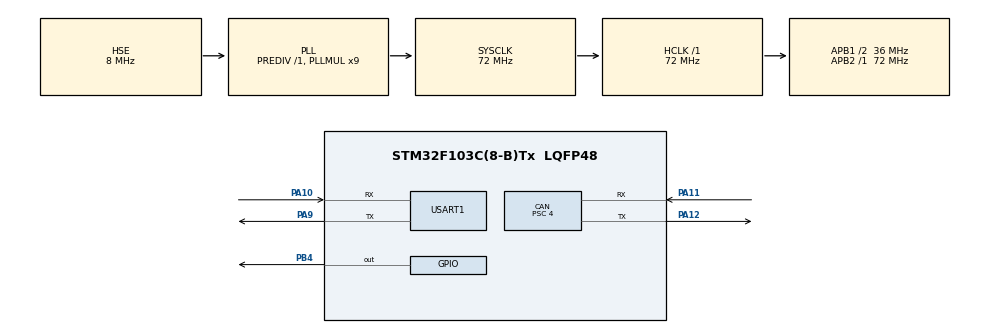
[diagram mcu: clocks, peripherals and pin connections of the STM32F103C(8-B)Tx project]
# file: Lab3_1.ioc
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CAN.BS1=CAN_BS1_12TQ
CAN.BS2=CAN_BS2_5TQ
CAN.CalculateBaudRate=500000
CAN.CalculateTimeBit=2000
CAN.CalculateTimeQuantum=111.11111111111111
CAN.Mode=CAN_MODE_NORMAL
CAN.NART=DISABLE
CAN.Prescaler=4
Mcu.Family=STM32F1
Mcu.Name=STM32F103C(8-B)Tx
Mcu.Package=LQFP48
NVIC.PriorityGroup=NVIC_PRIORITYGROUP_4
NVIC.USART1_IRQn=true\:0\:0\:false\:false\:true\:true\:true\:true
NVIC.USB_LP_CAN1_RX0_IRQn=true\:0\:0\:false\:false\:true\:true\:true\:true
PA10.Mode=Asynchronous
PA10.Signal=USART1_RX
PA11.Mode=CAN_Activate
PA11.Signal=CAN_RX
PA12.Mode=CAN_Activate
PA12.Signal=CAN_TX
PA13.Mode=Serial_Wire
PA13.Signal=SYS_JTMS-SWDIO
PA14.Mode=Serial_Wire
PA14.Signal=SYS_JTCK-SWCLK
PA9.Mode=Asynchronous
PA9.Signal=USART1_TX
PB4.Signal=GPIO_Output
PD0-OSC_IN.Mode=HSE-External-Oscillator
PD0-OSC_IN.Signal=RCC_OSC_IN
PD1-OSC_OUT.Mode=HSE-External-Oscillator
PD1-OSC_OUT.Signal=RCC_OSC_OUT
ProjectManager.HeapSize=0x200
ProjectManager.StackSize=0x400
ProjectManager.TargetToolchain=STM32CubeIDE
RCC.AHBFreq_Value=72000000
RCC.APB1CLKDivider=RCC_HCLK_DIV2
RCC.APB1Freq_Value=36000000
RCC.APB1TimFreq_Value=72000000
RCC.APB2Freq_Value=72000000
RCC.APB2TimFreq_Value=72000000
RCC.HCLKFreq_Value=72000000
RCC.PLLMUL=RCC_PLL_MUL9
RCC.PLLSourceVirtual=RCC_PLLSOURCE_HSE
RCC.SYSCLKFreq_VALUE=72000000
RCC.SYSCLKSource=RCC_SYSCLKSOURCE_PLLCLK
RCC.USBFreq_Value=72000000
USART1.VirtualMode=VM_ASYNC
board=custom

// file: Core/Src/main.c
/* USER CODE BEGIN Header */
/**
  ******************************************************************************
  * @file           : main.c
  * @brief          : Main program body
  ******************************************************************************
  * @attention
  *
  * Copyright (c) 2023 STMicroelectronics.
  * All rights reserved.
  *
  * This software is licensed under terms that can be found in the LICENSE file
  * in the root directory of this software component.
  * If no LICENSE file comes with this software, it is provided AS-IS.
  *
  ******************************************************************************
  */
/* USER CODE END Header */
#include "main.h"

CAN_HandleTypeDef hcan;

UART_HandleTypeDef huart1;

/* USER CODE BEGIN PV */
CAN_TxHeaderTypeDef   TxHeader;
uint8_t               TxData[8];
CAN_FilterTypeDef canfil; //CAN Bus Filter
uint32_t canMailbox; //CAN Bus Mail box variable
CAN_RxHeaderTypeDef rxHeader;
uint8_t receivedData[8];
#define RX_BUFFER_SIZE 8
uint8_t rxBuffer[RX_BUFFER_SIZE];
/* USER CODE END PV */

void SystemClock_Config(void);
static void MX_GPIO_Init(void);
static void MX_CAN_Init(void);
static void MX_USART1_UART_Init(void);

/* USER CODE BEGIN 0 */
void HAL_CAN_RxFifo0MsgPendingCallback(CAN_HandleTypeDef *hcan)
{
	  //HAL_GPIO_TogglePin(GPIOB, GPIO_PIN_4);
	  if (HAL_CAN_GetRxMessage(hcan, CAN_RX_FIFO0, &rxHeader, receivedData) == HAL_OK)
	  {

		  //receive data from ECU
		  if (rxHeader.StdId == 0x7A2)
		  {
		        for (int i = 0; i < rxHeader.DLC; i++)
		        {
		            rxBuffer[i] = receivedData[i];
		        }

		        HAL_UART_Transmit_IT(&huart1, rxBuffer,sizeof (rxBuffer));
		  }
	  }
}
/* USER CODE END 0 */

int main(void)
{
  /* USER CODE BEGIN 1 */
	canfil.FilterBank = 10;
	canfil.FilterMode = CAN_FILTERMODE_IDMASK;
	canfil.FilterFIFOAssignment = CAN_FILTER_FIFO0;
	canfil.FilterIdHigh = 0x712<<5;
	canfil.FilterIdLow = 0;
	canfil.FilterMaskIdHigh = 0x712<<5;
	canfil.FilterMaskIdLow = 0x0000;
	canfil.FilterScale = CAN_FILTERSCALE_32BIT;
	canfil.FilterActivation = CAN_FILTER_ENABLE;
	canfil.SlaveStartFilterBank = 0;

	TxHeader.ExtId = 0;
	TxHeader.IDE = CAN_ID_STD;
	TxHeader.StdId = 0x712;
	TxHeader.RTR = CAN_RTR_DATA;
	TxHeader.DLC = 8;
	TxHeader.TransmitGlobalTime = DISABLE;

  /* USER CODE END 1 */

  /* MCU Configuration--------------------------------------------------------*/

  /* Reset of all peripherals, Initializes the Flash interface and the Systick. */
  HAL_Init();

  /* Configure the system clock */
  SystemClock_Config();

  /* Initialize all configured peripherals */
  MX_GPIO_Init();
  MX_CAN_Init();
  MX_USART1_UART_Init();
  /* USER CODE BEGIN 2 */
  HAL_CAN_ConfigFilter(&hcan,&canfil);
  HAL_CAN_Start(&hcan);
  // Activate the notification
  HAL_CAN_ActivateNotification(&hcan, CAN_IT_RX_FIFO0_MSG_PENDING);
  /* USER CODE END 2 */

  /* Infinite loop */
  while (1)
  {

    /* USER CODE BEGIN 3 */
	  uint8_t TxData[8] = {0x22, 0x01, 0x23,0x00,0x00,0x00,0x00,0x00};
	 	  if(HAL_CAN_AddTxMessage(&hcan,&TxHeader,TxData,&canMailbox)!= HAL_OK)
	 	  {
	 		  HAL_GPIO_TogglePin(GPIOB, GPIO_PIN_4);
	 		  HAL_Delay(1000);

	 	  }
	 	  HAL_UART_Transmit_IT(&huart1, TxData,sizeof (TxData));
  }

  /* USER CODE END 3 */
}

void SystemClock_Config(void)
{
  RCC_OscInitTypeDef RCC_OscInitStruct = {0};
  RCC_ClkInitTypeDef RCC_ClkInitStruct = {0};

  /** Initializes the RCC Oscillators according to the specified parameters
  * in the RCC_OscInitTypeDef structure.
  */
  RCC_OscInitStruct.OscillatorType = RCC_OSCILLATORTYPE_HSE;
  RCC_OscInitStruct.HSEState = RCC_HSE_ON;
  RCC_OscInitStruct.HSEPredivValue = RCC_HSE_PREDIV_DIV1;
  RCC_OscInitStruct.HSIState = RCC_HSI_ON;
  RCC_OscInitStruct.PLL.PLLState = RCC_PLL_ON;
  RCC_OscInitStruct.PLL.PLLSource = RCC_PLLSOURCE_HSE;
  RCC_OscInitStruct.PLL.PLLMUL = RCC_PLL_MUL9;
  if (HAL_RCC_OscConfig(&RCC_OscInitStruct) != HAL_OK)
  {
    Error_Handler();
  }

  /** Initializes the CPU, AHB and APB buses clocks
  */
  RCC_ClkInitStruct.ClockType = RCC_CLOCKTYPE_HCLK|RCC_CLOCKTYPE_SYSCLK
                              |RCC_CLOCKTYPE_PCLK1|RCC_CLOCKTYPE_PCLK2;
  RCC_ClkInitStruct.SYSCLKSource = RCC_SYSCLKSOURCE_PLLCLK;
  RCC_ClkInitStruct.AHBCLKDivider = RCC_SYSCLK_DIV1;
  RCC_ClkInitStruct.APB1CLKDivider = RCC_HCLK_DIV2;
  RCC_ClkInitStruct.APB2CLKDivider = RCC_HCLK_DIV1;

  if (HAL_RCC_ClockConfig(&RCC_ClkInitStruct, FLASH_LATENCY_2) != HAL_OK)
  {
    Error_Handler();
  }
}

static void MX_CAN_Init(void)
{

  hcan.Instance = CAN1;
  hcan.Init.Prescaler = 4;
  hcan.Init.Mode = CAN_MODE_NORMAL;
  hcan.Init.SyncJumpWidth = CAN_SJW_1TQ;
  hcan.Init.TimeSeg1 = CAN_BS1_12TQ;
  hcan.Init.TimeSeg2 = CAN_BS2_5TQ;
  hcan.Init.TimeTriggeredMode = DISABLE;
  hcan.Init.AutoBusOff = DISABLE;
  hcan.Init.AutoWakeUp = DISABLE;
  hcan.Init.AutoRetransmission = DISABLE;
  hcan.Init.ReceiveFifoLocked = DISABLE;
  hcan.Init.TransmitFifoPriority = DISABLE;
  if (HAL_CAN_Init(&hcan) != HAL_OK)
  {
    Error_Handler();
  }

}

static void MX_USART1_UART_Init(void)
{

  huart1.Instance = USART1;
  huart1.Init.BaudRate = 115200;
  huart1.Init.WordLength = UART_WORDLENGTH_8B;
  huart1.Init.StopBits = UART_STOPBITS_1;
  huart1.Init.Parity = UART_PARITY_NONE;
  huart1.Init.Mode = UART_MODE_TX_RX;
  huart1.Init.HwFlowCtl = UART_HWCONTROL_NONE;
  huart1.Init.OverSampling = UART_OVERSAMPLING_16;
  if (HAL_UART_Init(&huart1) != HAL_OK)
  {
    Error_Handler();
  }

}

static void MX_GPIO_Init(void)
{
  GPIO_InitTypeDef GPIO_InitStruct = {0};

  /* GPIO Ports Clock Enable */
  __HAL_RCC_GPIOD_CLK_ENABLE();
  __HAL_RCC_GPIOA_CLK_ENABLE();
  __HAL_RCC_GPIOB_CLK_ENABLE();

  /*Configure GPIO pin Output Level */
  HAL_GPIO_WritePin(GPIOB, GPIO_PIN_4, GPIO_PIN_RESET);

  /*Configure GPIO pin : PB4 */
  GPIO_InitStruct.Pin = GPIO_PIN_4;
  GPIO_InitStruct.Mode = GPIO_MODE_OUTPUT_PP;
  GPIO_InitStruct.Pull = GPIO_NOPULL;
  GPIO_InitStruct.Speed = GPIO_SPEED_FREQ_LOW;
  HAL_GPIO_Init(GPIOB, &GPIO_InitStruct);

}

void Error_Handler(void)
{
  __disable_irq();
  while (1)
  {
  }
}
